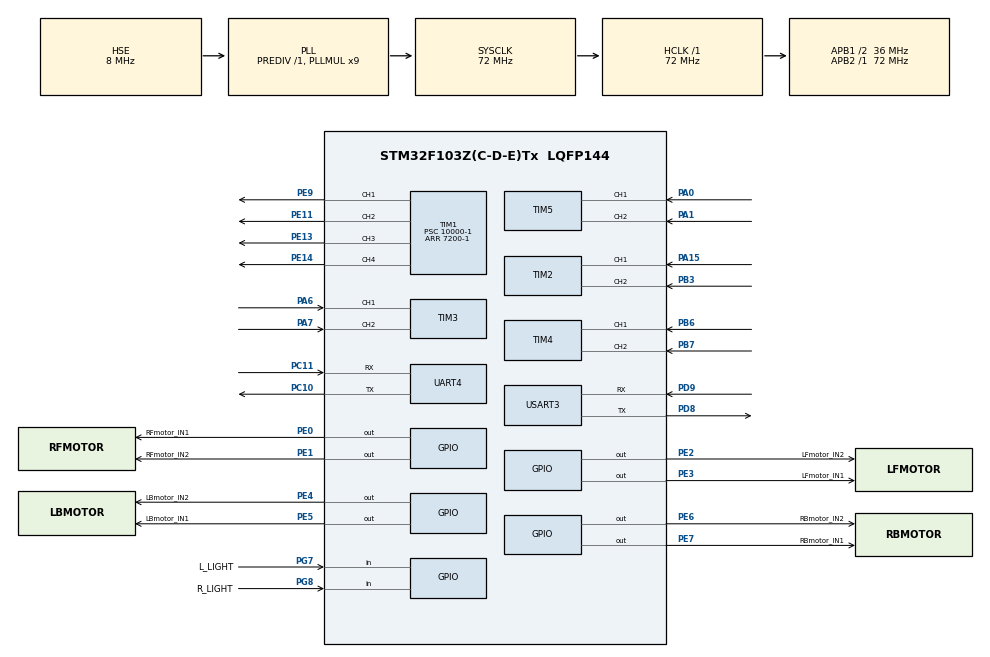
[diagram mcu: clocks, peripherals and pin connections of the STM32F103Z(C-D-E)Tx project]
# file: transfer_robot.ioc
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FREERTOS.Tasks01=defaultTask,0,128,StartDefaultTask,Default,NULL,Dynamic,NULL,NULL
Mcu.Family=STM32F1
Mcu.Name=STM32F103Z(C-D-E)Tx
Mcu.Package=LQFP144
NVIC.PriorityGroup=NVIC_PRIORITYGROUP_4
NVIC.TIM8_UP_IRQn=true\:15\:0\:false\:false\:true\:false\:false\:true\:true
NVIC.TimeBase=TIM8_UP_IRQn
NVIC.TimeBaseIP=TIM8
OSC_IN.Mode=HSE-External-Oscillator
OSC_IN.Signal=RCC_OSC_IN
OSC_OUT.Mode=HSE-External-Oscillator
OSC_OUT.Signal=RCC_OSC_OUT
PA0-WKUP.Signal=S_TIM5_CH1
PA1.Signal=S_TIM5_CH2
PA13.Mode=Serial_Wire
PA13.Signal=SYS_JTMS-SWDIO
PA14.Mode=Serial_Wire
PA14.Signal=SYS_JTCK-SWCLK
PA15.Signal=S_TIM2_CH1_ETR
PA6.Signal=S_TIM3_CH1
PA7.Signal=S_TIM3_CH2
PB3.Signal=S_TIM2_CH2
PB6.Signal=S_TIM4_CH1
PB7.Signal=S_TIM4_CH2
PC10.Mode=Asynchronous
PC10.Signal=UART4_TX
PC11.Mode=Asynchronous
PC11.Signal=UART4_RX
PC14-OSC32_IN.Mode=LSE-External-Oscillator
PC14-OSC32_IN.Signal=RCC_OSC32_IN
PC15-OSC32_OUT.Mode=LSE-External-Oscillator
PC15-OSC32_OUT.Signal=RCC_OSC32_OUT
PD8.Mode=Asynchronous
PD8.Signal=USART3_TX
PD9.Mode=Asynchronous
PD9.Signal=USART3_RX
PE0.GPIO_Label=RFmotor_IN1
PE0.Signal=GPIO_Output
PE1.GPIO_Label=RFmotor_IN2
PE1.Signal=GPIO_Output
PE11.Signal=S_TIM1_CH2
PE13.Signal=S_TIM1_CH3
PE14.Signal=S_TIM1_CH4
PE2.GPIO_Label=LFmotor_IN2
PE2.Signal=GPIO_Output
PE3.GPIO_Label=LFmotor_IN1
PE3.Signal=GPIO_Output
PE4.GPIO_Label=LBmotor_IN2
PE4.Signal=GPIO_Output
PE5.GPIO_Label=LBmotor_IN1
PE5.Signal=GPIO_Output
PE6.GPIO_Label=RBmotor_IN2
PE6.Signal=GPIO_Output
PE7.GPIO_Label=RBmotor_IN1
PE7.Signal=GPIO_Output
PE9.Signal=S_TIM1_CH1
PG7.GPIO_Label=L_LIGHT
PG7.Signal=GPIO_Input
PG8.GPIO_Label=R_LIGHT
PG8.Signal=GPIO_Input
ProjectManager.HeapSize=0x200
ProjectManager.StackSize=0x400
ProjectManager.TargetToolchain=MDK-ARM V5.32
RCC.AHBFreq_Value=72000000
RCC.APB1CLKDivider=RCC_HCLK_DIV2
RCC.APB1Freq_Value=36000000
RCC.APB1TimFreq_Value=72000000
RCC.APB2Freq_Value=72000000
RCC.APB2TimFreq_Value=72000000
RCC.HCLKFreq_Value=72000000
RCC.PLLMUL=RCC_PLL_MUL9
RCC.PLLSourceVirtual=RCC_PLLSOURCE_HSE
RCC.RTCClockSelection=RCC_RTCCLKSOURCE_LSE
RCC.SYSCLKFreq_VALUE=72000000
RCC.SYSCLKSource=RCC_SYSCLKSOURCE_PLLCLK
RCC.USBFreq_Value=72000000
SH.S_TIM1_CH1.0=TIM1_CH1,Output Compare1 CH1
SH.S_TIM1_CH2.0=TIM1_CH2,Output Compare2 CH2
SH.S_TIM1_CH3.0=TIM1_CH3,Output Compare3 CH3
SH.S_TIM1_CH4.0=TIM1_CH4,Output Compare4 CH4
SH.S_TIM2_CH1_ETR.0=TIM2_CH1,Encoder_Interface
SH.S_TIM2_CH2.0=TIM2_CH2,Encoder_Interface
SH.S_TIM3_CH1.0=TIM3_CH1,Encoder_Interface
SH.S_TIM3_CH2.0=TIM3_CH2,Encoder_Interface
SH.S_TIM4_CH1.0=TIM4_CH1,Encoder_Interface
SH.S_TIM4_CH2.0=TIM4_CH2,Encoder_Interface
SH.S_TIM5_CH1.0=TIM5_CH1,Encoder_Interface
SH.S_TIM5_CH2.0=TIM5_CH2,Encoder_Interface
TIM1.Channel-Output\ Compare1\ CH1=TIM_CHANNEL_1
TIM1.Channel-Output\ Compare2\ CH2=TIM_CHANNEL_2
TIM1.Channel-Output\ Compare3\ CH3=TIM_CHANNEL_3
TIM1.Channel-Output\ Compare4\ CH4=TIM_CHANNEL_4
TIM1.Period=7200-1
TIM1.Prescaler=10000-1
TIM2.EncoderMode=TIM_ENCODERMODE_TI12
UART4.VirtualMode=Asynchronous
USART3.VirtualMode=VM_ASYNC
VP_FREERTOS_VS_CMSIS_V1.Mode=CMSIS_V1
VP_RTC_VS_RTC_Activate.Mode=RTC_Enabled
VP_SYS_VS_tim8.Mode=TIM8
VP_TIM1_VS_ClockSourceINT.Mode=Internal
board=custom

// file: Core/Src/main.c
/* USER CODE BEGIN Header */
/**
  ******************************************************************************
  * @file           : main.c
  * @brief          : Main program body
  ******************************************************************************
  * @attention
  *
  * Copyright (c) 2023 STMicroelectronics.
  * All rights reserved.
  *
  * This software is licensed under terms that can be found in the LICENSE file
  * in the root directory of this software component.
  * If no LICENSE file comes with this software, it is provided AS-IS.
  *
  ******************************************************************************
  */
/* USER CODE END Header */
#include "main.h"
#include "cmsis_os.h"
#include "rtc.h"
#include "tim.h"
#include "usart.h"
#include "gpio.h"

void SystemClock_Config(void);
void MX_FREERTOS_Init(void);

int main(void)
{

  /* MCU Configuration--------------------------------------------------------*/

  /* Reset of all peripherals, Initializes the Flash interface and the Systick. */
  HAL_Init();

  /* Configure the system clock */
  SystemClock_Config();

  /* Initialize all configured peripherals */
  MX_GPIO_Init();
  MX_RTC_Init();
  MX_TIM1_Init();
  MX_TIM2_Init();
  MX_TIM3_Init();
  MX_TIM4_Init();
  MX_TIM5_Init();
  MX_UART4_Init();
  MX_USART3_UART_Init();
  /* USER CODE BEGIN 2 */
	HAL_TIM_Base_Start(&htim1);
	HAL_TIM_PWM_Start(&htim1, TIM_CHANNEL_1);
  /* USER CODE END 2 */

  /* Call init function for freertos objects (in freertos.c) */
  MX_FREERTOS_Init();

  /* Start scheduler */
  osKernelStart();
  /* We should never get here as control is now taken by the scheduler */
  /* Infinite loop */
  while (1)
  {

  }
}

void SystemClock_Config(void)
{
  RCC_OscInitTypeDef RCC_OscInitStruct = {0};
  RCC_ClkInitTypeDef RCC_ClkInitStruct = {0};
  RCC_PeriphCLKInitTypeDef PeriphClkInit = {0};

  /** Initializes the RCC Oscillators according to the specified parameters
  * in the RCC_OscInitTypeDef structure.
  */
  RCC_OscInitStruct.OscillatorType = RCC_OSCILLATORTYPE_HSE|RCC_OSCILLATORTYPE_LSE;
  RCC_OscInitStruct.HSEState = RCC_HSE_ON;
  RCC_OscInitStruct.HSEPredivValue = RCC_HSE_PREDIV_DIV1;
  RCC_OscInitStruct.LSEState = RCC_LSE_ON;
  RCC_OscInitStruct.HSIState = RCC_HSI_ON;
  RCC_OscInitStruct.PLL.PLLState = RCC_PLL_ON;
  RCC_OscInitStruct.PLL.PLLSource = RCC_PLLSOURCE_HSE;
  RCC_OscInitStruct.PLL.PLLMUL = RCC_PLL_MUL9;
  if (HAL_RCC_OscConfig(&RCC_OscInitStruct) != HAL_OK)
  {
    Error_Handler();
  }

  /** Initializes the CPU, AHB and APB buses clocks
  */
  RCC_ClkInitStruct.ClockType = RCC_CLOCKTYPE_HCLK|RCC_CLOCKTYPE_SYSCLK
                              |RCC_CLOCKTYPE_PCLK1|RCC_CLOCKTYPE_PCLK2;
  RCC_ClkInitStruct.SYSCLKSource = RCC_SYSCLKSOURCE_PLLCLK;
  RCC_ClkInitStruct.AHBCLKDivider = RCC_SYSCLK_DIV1;
  RCC_ClkInitStruct.APB1CLKDivider = RCC_HCLK_DIV2;
  RCC_ClkInitStruct.APB2CLKDivider = RCC_HCLK_DIV1;

  if (HAL_RCC_ClockConfig(&RCC_ClkInitStruct, FLASH_LATENCY_2) != HAL_OK)
  {
    Error_Handler();
  }
  PeriphClkInit.PeriphClockSelection = RCC_PERIPHCLK_RTC;
  PeriphClkInit.RTCClockSelection = RCC_RTCCLKSOURCE_LSE;
  if (HAL_RCCEx_PeriphCLKConfig(&PeriphClkInit) != HAL_OK)
  {
    Error_Handler();
  }
}

void HAL_TIM_PeriodElapsedCallback(TIM_HandleTypeDef *htim)
{
  if (htim->Instance == TIM8) {
    HAL_IncTick();
  }
}

void Error_Handler(void)
{
  __disable_irq();
  while (1)
  {
  }
}

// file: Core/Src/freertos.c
/* USER CODE BEGIN Header */
/**
  ******************************************************************************
  * File Name          : freertos.c
  * Description        : Code for freertos applications
  ******************************************************************************
  * @attention
  *
  * Copyright (c) 2023 STMicroelectronics.
  * All rights reserved.
  *
  * This software is licensed under terms that can be found in the LICENSE file
  * in the root directory of this software component.
  * If no LICENSE file comes with this software, it is provided AS-IS.
  *
  ******************************************************************************
  */
/* USER CODE END Header */

#include "FreeRTOS.h"
#include "task.h"
#include "main.h"
#include "cmsis_os.h"

/* USER CODE BEGIN Variables */
osThreadId robotTaskHandle;
osThreadId daemonTaskHandle;
osThreadId motorTaskHandle;
/* USER CODE END Variables */
osThreadId defaultTaskHandle;

/* USER CODE BEGIN FunctionPrototypes */
void StartROBOTTASK(void const *argument);
void StartDAEMONTASK(void const *argument);
void StartMOTORTASK(void const *argument);
/* USER CODE END FunctionPrototypes */

void StartDefaultTask(void const * argument);

void MX_FREERTOS_Init(void); /* (MISRA C 2004 rule 8.1) */

/* GetIdleTaskMemory prototype (linked to static allocation support) */
void vApplicationGetIdleTaskMemory( StaticTask_t **ppxIdleTaskTCBBuffer, StackType_t **ppxIdleTaskStackBuffer, uint32_t *pulIdleTaskStackSize );

/* USER CODE BEGIN GET_IDLE_TASK_MEMORY */
static StaticTask_t xIdleTaskTCBBuffer;
static StackType_t xIdleStack[configMINIMAL_STACK_SIZE];

void vApplicationGetIdleTaskMemory( StaticTask_t **ppxIdleTaskTCBBuffer, StackType_t **ppxIdleTaskStackBuffer, uint32_t *pulIdleTaskStackSize )
{
  *ppxIdleTaskTCBBuffer = &xIdleTaskTCBBuffer;
  *ppxIdleTaskStackBuffer = &xIdleStack[0];
  *pulIdleTaskStackSize = configMINIMAL_STACK_SIZE;
  /* place for user code */
}
/* USER CODE END GET_IDLE_TASK_MEMORY */

void MX_FREERTOS_Init(void) {

  /* Create the thread(s) */
  /* definition and creation of defaultTask */
  osThreadDef(defaultTask, StartDefaultTask, osPriorityNormal, 0, 128);
  defaultTaskHandle = osThreadCreate(osThread(defaultTask), NULL);

  /* USER CODE BEGIN RTOS_THREADS */
  /* add threads, ... */
//位姿解算
//	osThreadDef(instask, StartINSTASK, osPriorityNormal, 0, 1024);
//  insTaskHandle = osThreadCreate(osThread(instask), NULL);
//电机控制
  osThreadDef(motortask, StartMOTORTASK, osPriorityNormal, 0, 128);
  motorTaskHandle = osThreadCreate(osThread(motortask), NULL);
//自检
  osThreadDef(daemontask, StartDAEMONTASK, osPriorityNormal, 0, 128);
  daemonTaskHandle = osThreadCreate(osThread(daemontask), NULL);
//机器人控制
  osThreadDef(robottask, StartROBOTTASK, osPriorityNormal, 0, 256);
  robotTaskHandle = osThreadCreate(osThread(robottask), NULL);

  /* USER CODE END RTOS_THREADS */

}

void StartDefaultTask(void const * argument)
{
  /* USER CODE BEGIN StartDefaultTask */
  /* Infinite loop */
  for(;;)
  {
		TIM1->CCR1=500;
    osDelay(500);
		TIM1->CCR1=1000;
		osDelay(500);
		TIM1->CCR1=1500;
  }
  /* USER CODE END StartDefaultTask */
}

/* USER CODE BEGIN Application */
//void StartINSTASK(void const *argument)
//{
//  while (1)
//  {
//    // 1kHz
////    INS_Task();
////    VisionSend(); // 解算完成后发送视觉数据
//    osDelay(1);
//  }
//}
int motorTask_cnt=0;
void StartMOTORTASK(void const *argument)
{
  while (1)
  {
    // 500Hz
//    MotorControlTask();
		motorTask_cnt++;
    osDelay(2);
  }
}
int daemonTask_cnt=0;
void StartDAEMONTASK(void const *argument)
{
  while (1)
  {
    // 100Hz
//    DaemonTask();
		daemonTask_cnt++;
    osDelay(10);
  }
}
int robottask_cnt=0;
void StartROBOTTASK(void const *argument)
{
  while (1)
  {
//    // 200Hz
//    RobotTask();
		robottask_cnt++;
    osDelay(1000);
  }
}

/* USER CODE END Application */
